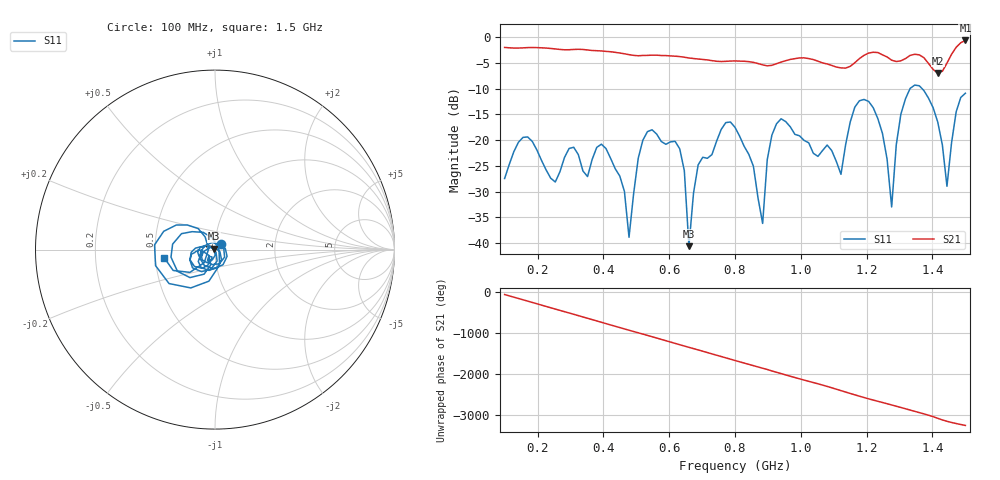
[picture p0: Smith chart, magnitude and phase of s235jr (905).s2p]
! NanoVNA-App
! Date: 2025-09-25 15:11:13
! Start: 100MHz Stop: 1,5GHz Points: 101
! S-Parameter data: F S11 S21 S12 S22
# Hz S RI R 50
!  Frequency  S11_Real  S11_Imag  S21_Real  S21_Imag  S12_Real  S12_Imag  S22_Real  S22_Imag
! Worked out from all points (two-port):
!   101 points, 100 MHz to 1.5 GHz, reference 50 ohm
!   highest |S21| = -0.61 dB at 1.5 GHz (marker M1); lowest = -7.0 dB at 1.416 GHz (marker M2)
!   |S21| within 3 dB of the highest: start of sweep to 601.7 MHz; 1.19 GHz to 1.255 GHz (65.17 MHz wide, 5.33 % of centre) (the widest 2 of 4)
!   lowest |S11| = -40.6 dB at 660 MHz (marker M3), VSWR 1.02, Z = 49.2 + j0.536 ohm
!   |S11| at or under -10 dB: start of sweep to 1.332 GHz; 1.369 GHz to end of sweep
!   S12 and S22 are empty: the file has one direction only
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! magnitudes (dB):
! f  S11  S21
! 100 MHz  -27.5  -2.0
! 156 MHz  -19.5  -2.0
! 338 MHz  -26.0  -2.4
! 408 MHz  -21.6  -2.7
! 478 MHz  -38.9  -3.4
! 520 MHz  -20.0  -3.5
! 576 MHz  -20.3  -3.5
! 632 MHz  -21.7  -3.7
! 660 MHz  -40.6  -4.0
! 688 MHz  -24.8  -4.2
! 800 MHz  -17.5  -4.6
! 884 MHz  -36.2  -5.4
! 926 MHz  -16.8  -5.1
! 1.038 GHz  -22.6  -4.3
! 1.122 GHz  -26.7  -5.9
! 1.206 GHz  -12.5  -3.1
! 1.276 GHz  -33.0  -4.4
! 1.304 GHz  -14.9  -4.6
! 1.332 GHz  -9.9  -3.5
! 1.416 GHz  -16.5  -7.0
! 1.444 GHz  -29.0  -5.0
! 1.5 GHz  -10.9  -0.6
